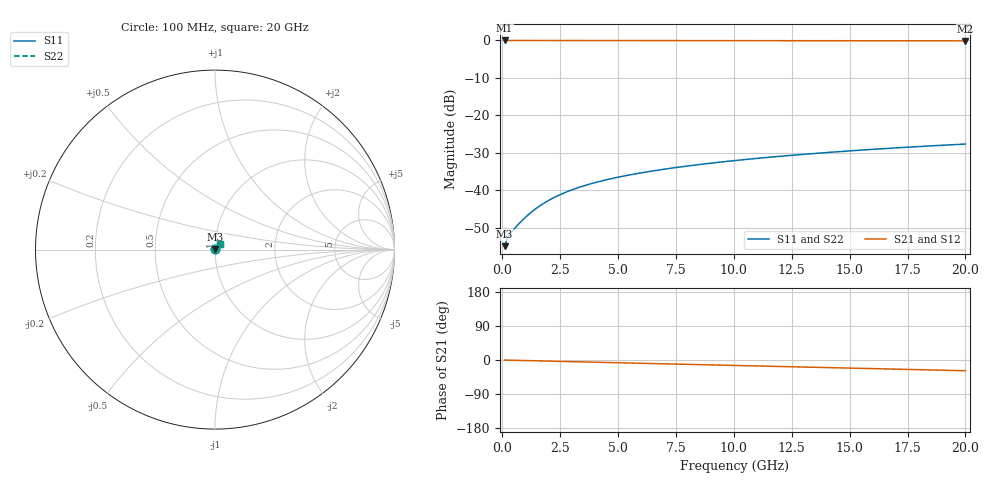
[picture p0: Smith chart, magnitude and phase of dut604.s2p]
! Touchstone file exported from HFSS 2026.1.0
!  File:  C:/ffzhzh/LocalFiles/Ansys_Project_Files/temp_train_TMRDL_604_1783008672_51716.aedt
!  Generated:  12:12:27 AM Jul  3, 2026
!  Design:  TMRDL
!  Project:  temp_train_TMRDL_604_1783008672_51716
! Variables:
!  h_bsmrdl = 2um
!  h_ox = 20um
!  h_rdl = 5um
!  h_sub = 80um
!  h_tmrdl = 5.46um
!  h_tsv = 80um
!  h_via = 3um
!  l_bsmrdl = 300um
!  l_sub = 902.5um
!  l_tmrdl = 502.5um
!  m_sub = 200um
!  pitch = 29.37um
!  r_tsv = 6um
!  s_tmrdl = 10um
!  w_bsmrdl = 18um
!  w_sub = 500um
!  w_tmrdl = 22.79um
!  x_tsv_center1 = 513.895um
!  x_tsv_center2 = 831.895um
!  x_tsv_center3 = 1357.185um
!  x_tsv_center4 = 1675.185um
!  x_tsv_center5 = 2200.475um
!  x_tsv_center6 = 2518.475um
# GHz S MA R 50.000000
! Terminal data exported
! Port[1] = TM_RDL1_1_T1
! Port[2] = TM_RDL1_1_T2
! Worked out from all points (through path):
!   200 points, 100 MHz to 20 GHz, reference 50 ohm
!   highest |S21| = -0.01 dB at 100 MHz (marker M1); lowest = -0.1 dB at 20 GHz (marker M2)
!   group delay of S21, straight-line fit = 3.92 ps
!   lowest |S11| = -54.9 dB at 100 MHz (marker M3), VSWR 1.00, Z = 50.2 + j0.0662 ohm
!   |S11| at or under -10 dB: start of sweep to end of sweep
!   |S22| runs from -54.9 to -27.6 dB; largest |S21 - S12| = 1e-14
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0.1  0.001803 21.5  0.9983 -0.2  0.9983 -0.2  0.001803 21.5
! Gamma 0 0 0 0
! Port Impedance 50 0 50 0
0.2  0.002215 29.3  0.9981 -0.3  0.9981 -0.3  0.002216 29.4
0.3  0.002529 33.5  0.9979 -0.5  0.9979 -0.5  0.002531 33.5
0.4  0.00279 37.1  0.9977 -0.6  0.9977 -0.6  0.002792 37.1
0.6  0.003289 43.5  0.9976 -0.9  0.9976 -0.9  0.003292 43.5
0.9  0.004096 50.8  0.9974 -1.4  0.9974 -1.4  0.004097 50.7
1.1  0.004669 54.1  0.9973 -1.6  0.9973 -1.6  0.00467 54.0
1.4  0.005557 57.4  0.9971 -2.1  0.9971 -2.1  0.005558 57.3
1.8  0.006751 59.8  0.9968 -2.7  0.9968 -2.7  0.006751 59.8
2.3  0.008211 61.1  0.9964 -3.4  0.9964 -3.4  0.00821 61.1
2.9  0.009878 61.4  0.9959 -4.3  0.9959 -4.3  0.009877 61.4
3.5  0.01144 61.2  0.9953 -5.1  0.9953 -5.1  0.01144 61.2
4.2  0.01315 60.6  0.9947 -6.1  0.9947 -6.1  0.01316 60.6
4.9  0.01476 60.0  0.9942 -7.1  0.9942 -7.1  0.01476 60.0
5.8  0.01672 59.2  0.9935 -8.4  0.9935 -8.4  0.01672 59.1
6.8  0.01878 58.3  0.9928 -9.8  0.9928 -9.8  0.01878 58.2
8.3  0.02172 56.9  0.9919 -12.0  0.9919 -12.0  0.02173 56.9
10.1  0.02509 55.2  0.9909 -14.5  0.9909 -14.5  0.0251 55.2
11.7  0.02798 53.7  0.9901 -16.7  0.9901 -16.7  0.02798 53.6
13.4  0.03093 52.0  0.9894 -19.1  0.9894 -19.1  0.03094 51.9
16.7  0.03639 48.4  0.9879 -23.7  0.9879 -23.7  0.0364 48.3
20  0.04148 44.7  0.9866 -28.3  0.9866 -28.3  0.04149 44.6
